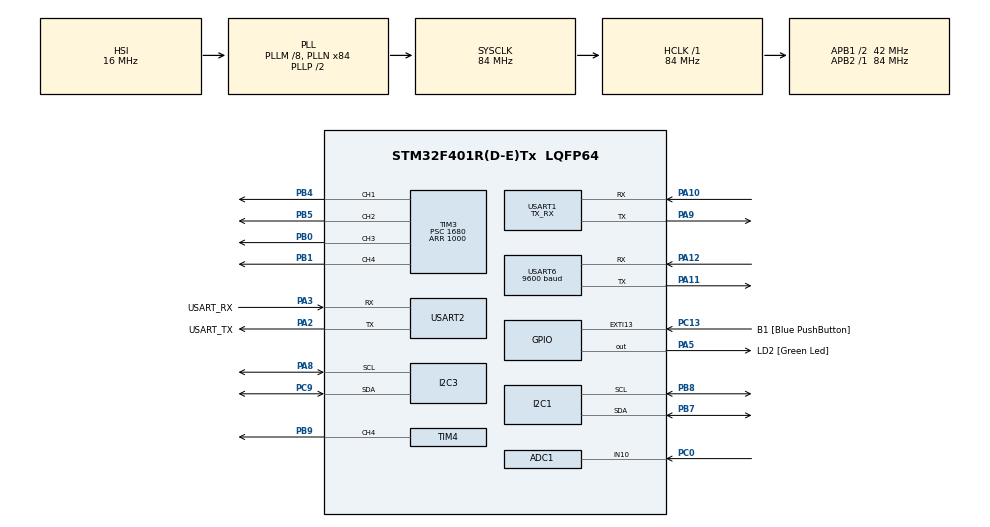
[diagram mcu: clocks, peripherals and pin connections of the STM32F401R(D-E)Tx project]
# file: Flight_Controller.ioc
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ADC1.Channel-1\#ChannelRegularConversion=ADC_CHANNEL_10
ADC1.NbrOfConversionFlag=1
ADC1.Rank-1\#ChannelRegularConversion=1
ADC1.SamplingTime-1\#ChannelRegularConversion=ADC_SAMPLETIME_3CYCLES
ADC1.master=1
Dma.ADC1.1.Direction=DMA_PERIPH_TO_MEMORY
Dma.ADC1.1.FIFOMode=DMA_FIFOMODE_DISABLE
Dma.ADC1.1.Instance=DMA2_Stream0
Dma.ADC1.1.MemDataAlignment=DMA_MDATAALIGN_HALFWORD
Dma.ADC1.1.MemInc=DMA_MINC_ENABLE
Dma.ADC1.1.Mode=DMA_NORMAL
Dma.ADC1.1.PeriphDataAlignment=DMA_PDATAALIGN_HALFWORD
Dma.ADC1.1.PeriphInc=DMA_PINC_DISABLE
Dma.ADC1.1.Priority=DMA_PRIORITY_LOW
Dma.Request0=USART1_TX
Dma.Request1=ADC1
Dma.USART1_TX.0.Direction=DMA_MEMORY_TO_PERIPH
Dma.USART1_TX.0.FIFOMode=DMA_FIFOMODE_DISABLE
Dma.USART1_TX.0.Instance=DMA2_Stream7
Dma.USART1_TX.0.MemDataAlignment=DMA_MDATAALIGN_BYTE
Dma.USART1_TX.0.MemInc=DMA_MINC_ENABLE
Dma.USART1_TX.0.Mode=DMA_NORMAL
Dma.USART1_TX.0.PeriphDataAlignment=DMA_PDATAALIGN_BYTE
Dma.USART1_TX.0.PeriphInc=DMA_PINC_DISABLE
Dma.USART1_TX.0.Priority=DMA_PRIORITY_LOW
Mcu.Family=STM32F4
Mcu.Name=STM32F401R(D-E)Tx
Mcu.Package=LQFP64
NVIC.DMA2_Stream0_IRQn=true\:0\:0\:false\:false\:true\:false\:true\:true
NVIC.DMA2_Stream7_IRQn=true\:0\:0\:false\:false\:true\:false\:true\:true
NVIC.PriorityGroup=NVIC_PRIORITYGROUP_0
NVIC.TIM1_UP_TIM10_IRQn=true\:0\:0\:false\:false\:true\:true\:true\:true
NVIC.USART1_IRQn=true\:0\:0\:false\:false\:true\:true\:true\:true
NVIC.USART6_IRQn=true\:0\:0\:false\:false\:true\:true\:true\:true
PA10.Mode=Asynchronous
PA10.Signal=USART1_RX
PA11.Mode=Asynchronous
PA11.Signal=USART6_TX
PA12.Mode=Asynchronous
PA12.Signal=USART6_RX
PA13.GPIO_Label=TMS
PA13.Mode=Serial_Wire
PA13.Signal=SYS_JTMS-SWDIO
PA14.GPIO_Label=TCK
PA14.Mode=Serial_Wire
PA14.Signal=SYS_JTCK-SWCLK
PA2.GPIO_Label=USART_TX
PA2.GPIO_Mode=GPIO_MODE_AF_PP
PA2.GPIO_PuPd=GPIO_NOPULL
PA2.GPIO_Speed=GPIO_SPEED_FREQ_LOW
PA2.Mode=Asynchronous
PA2.Signal=USART2_TX
PA3.GPIO_Label=USART_RX
PA3.GPIO_Mode=GPIO_MODE_AF_PP
PA3.GPIO_PuPd=GPIO_NOPULL
PA3.GPIO_Speed=GPIO_SPEED_FREQ_LOW
PA3.Mode=Asynchronous
PA3.Signal=USART2_RX
PA5.GPIO_Label=LD2 [Green Led]
PA5.GPIO_Mode=GPIO_MODE_OUTPUT_PP
PA5.GPIO_PuPd=GPIO_NOPULL
PA5.GPIO_Speed=GPIO_SPEED_FREQ_LOW
PA5.Signal=GPIO_Output
PA8.Mode=I2C
PA8.Signal=I2C3_SCL
PA9.Mode=Asynchronous
PA9.Signal=USART1_TX
PB0.Signal=S_TIM3_CH3
PB1.Signal=S_TIM3_CH4
PB3.GPIO_Label=SWO
PB3.Signal=SYS_JTDO-SWO
PB4.Signal=S_TIM3_CH1
PB5.Signal=S_TIM3_CH2
PB7.Mode=I2C
PB7.Signal=I2C1_SDA
PB8.Mode=I2C
PB8.Signal=I2C1_SCL
PB9.Signal=S_TIM4_CH4
PC0.Signal=ADCx_IN10
PC13-ANTI_TAMP.GPIO_Label=B1 [Blue PushButton]
PC13-ANTI_TAMP.GPIO_ModeDefaultEXTI=GPIO_MODE_IT_FALLING
PC13-ANTI_TAMP.GPIO_PuPd=GPIO_NOPULL
PC13-ANTI_TAMP.Signal=GPXTI13
PC14-OSC32_IN.Mode=LSE-External-Oscillator
PC14-OSC32_IN.Signal=RCC_OSC32_IN
PC15-OSC32_OUT.Mode=LSE-External-Oscillator
PC15-OSC32_OUT.Signal=RCC_OSC32_OUT
PC9.Mode=I2C
PC9.Signal=I2C3_SDA
PH0\ -\ OSC_IN.Mode=HSE-External-Clock-Source
PH0\ -\ OSC_IN.Signal=RCC_OSC_IN
PH1\ -\ OSC_OUT.Mode=HSE-External-Clock-Source
PH1\ -\ OSC_OUT.Signal=RCC_OSC_OUT
ProjectManager.HeapSize=0x200
ProjectManager.StackSize=0x400
ProjectManager.TargetToolchain=STM32CubeIDE
RCC.48MHZClocksFreq_Value=24000000
RCC.AHBFreq_Value=84000000
RCC.APB1CLKDivider=RCC_HCLK_DIV2
RCC.APB1Freq_Value=42000000
RCC.APB1TimFreq_Value=84000000
RCC.APB2Freq_Value=84000000
RCC.APB2TimFreq_Value=84000000
RCC.CortexFreq_Value=84000000
RCC.HCLKFreq_Value=84000000
RCC.HSE_VALUE=8000000
RCC.HSI_VALUE=16000000
RCC.PLLM=8
RCC.PLLN=84
RCC.PLLQ=7
RCC.SYSCLKFreq_VALUE=84000000
RCC.SYSCLKSource=RCC_SYSCLKSOURCE_PLLCLK
RCC.VCOOutputFreq_Value=168000000
SH.ADCx_IN10.0=ADC1_IN10,IN10
SH.S_TIM3_CH1.0=TIM3_CH1,PWM Generation1 CH1
SH.S_TIM3_CH2.0=TIM3_CH2,PWM Generation2 CH2
SH.S_TIM3_CH3.0=TIM3_CH3,PWM Generation3 CH3
SH.S_TIM3_CH4.0=TIM3_CH4,PWM Generation4 CH4
SH.S_TIM4_CH4.0=TIM4_CH4,PWM Generation4 CH4
STMicroelectronics.X-CUBE-ALGOBUILD.1.4.0.LibraryCcDSPOoLibraryJjDSPOoLibrary=true
TIM10.AutoReloadPreload=TIM_AUTORELOAD_PRELOAD_ENABLE
TIM10.Period=41999
TIM10.Prescaler=1
TIM3.AutoReloadPreload=TIM_AUTORELOAD_PRELOAD_ENABLE
TIM3.Channel-PWM\ Generation1\ CH1=TIM_CHANNEL_1
TIM3.Channel-PWM\ Generation2\ CH2=TIM_CHANNEL_2
TIM3.Channel-PWM\ Generation3\ CH3=TIM_CHANNEL_3
TIM3.Channel-PWM\ Generation4\ CH4=TIM_CHANNEL_4
TIM3.OCFastMode_PWM-PWM\ Generation1\ CH1=TIM_OCFAST_ENABLE
TIM3.OCFastMode_PWM-PWM\ Generation2\ CH2=TIM_OCFAST_ENABLE
TIM3.OCFastMode_PWM-PWM\ Generation3\ CH3=TIM_OCFAST_ENABLE
TIM3.OCFastMode_PWM-PWM\ Generation4\ CH4=TIM_OCFAST_ENABLE
TIM3.Period=1000
TIM3.Prescaler=1680
TIM3.Pulse-PWM\ Generation2\ CH2=0
TIM3.Pulse-PWM\ Generation3\ CH3=0
TIM4.AutoReloadPreload=TIM_AUTORELOAD_PRELOAD_ENABLE
TIM4.Channel-PWM\ Generation4\ CH4=TIM_CHANNEL_4
TIM4.OCFastMode_PWM-PWM\ Generation4\ CH4=TIM_OCFAST_ENABLE
TIM4.Period=20
TIM4.Prescaler=999
TIM4.Pulse-PWM\ Generation4\ CH4=10
USART1.Mode=MODE_TX_RX
USART1.VirtualMode=VM_ASYNC
USART2.VirtualMode=VM_ASYNC
USART6.BaudRate=9600
USART6.Parity=PARITY_NONE
USART6.VirtualMode=VM_ASYNC
VP_STMicroelectronics.X-CUBE-ALGOBUILD_VS_DSPOoLibraryJjLibrary_1.4.0_1.4.0.Mode=DSPOoLibraryJjLibrary
VP_TIM10_VS_ClockSourceINT.Mode=Enable_Timer
board=NUCLEO-F401RE

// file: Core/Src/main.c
/* USER CODE BEGIN Header */
/**
  ******************************************************************************
  * @file           : main.c
  * @brief          : Main program body
  ******************************************************************************
  * @attention
  *
  * Copyright (c) 2024 STMicroelectronics.
  * All rights reserved.
  *
  * This software is licensed under terms that can be found in the LICENSE file
  * in the root directory of this software component.
  * If no LICENSE file comes with this software, it is provided AS-IS.
  *
  ******************************************************************************
  */
/* USER CODE END Header */
#include "main.h"

/* USER CODE BEGIN Includes */
#include "rc_controller.h"
#include "pid.h"
#include <stdio.h>
#include "gps.h"
#include "BME280_STM32.h"
#include "mpu6050.h"

/* USER CODE END Includes */

ADC_HandleTypeDef hadc1;
DMA_HandleTypeDef hdma_adc1;

I2C_HandleTypeDef hi2c1;
I2C_HandleTypeDef hi2c3;

TIM_HandleTypeDef htim3;

UART_HandleTypeDef huart2;
UART_HandleTypeDef huart6;

/* USER CODE BEGIN PV */

GPS_t GPS;
extern uint8_t USART1_rx_flag;
extern uint8_t USART1_rx_data;
extern uint8_t _rx_buf[52];
extern uint8_t _rx_cplt_flag;
int32_t gps_lat_dec,gps_lon_dec,alt_dec,bat_dec;
char gps_lat_round,gps_lon_round,alt_dec_round,bat_dec_round;
uint8_t data_to_pc[46];

float Temperature, Pressure, Humidity,alt,OrrX_pre,OrrY_pre,OrrZ_pre;

float R1 = 30000.0;
float R2 = 7500.0;
extern uint8_t tim10_1ms_flag ;
unsigned char low_bat_flag = 0;
#define MIN 55
#define MAX 65

/* USER CODE END PV */

void SystemClock_Config(void);
static void MX_GPIO_Init(void);
static void MX_DMA_Init(void);
static void MX_USART2_UART_Init(void);
static void MX_USART1_UART_Init(void);
static void MX_USART6_UART_Init(void);
static void MX_TIM3_Init(void);
static void MX_I2C3_Init(void);
static void MX_I2C1_Init(void);
static void MX_ADC1_Init(void);
static void MX_TIM4_Init(void);
static void MX_TIM10_Init(void);
/* USER CODE BEGIN PFP */
void DMA_TransmitData(void);
int IS_throttle_Min(void);
void ESC_Calibration(void);
/* USER CODE END PFP */

/* USER CODE BEGIN 0 */
void HAL_UART_RxCpltCallback(UART_HandleTypeDef *huart)
{
	if(huart == &huart6) GPS_UART_CallBack();
}

long map (long x, long in_min, long in_max, long out_min, long out_max)
{
return (x - in_min) * (out_max - out_min + 1) / (in_max - in_min + 1) + out_min;
}

float map_float(float x, float in_min, float in_max, float out_min, float out_max) {
    return (x - in_min) * (out_max - out_min) / (in_max - in_min) + out_min;
}

// PID controller variables
float integral_alt = 0.0;
float previous_error_alt = 0.0;

// Desired altitude
//float desired_altitude = 4;  // Example: 100 meters

// PID controller function
float pidController_alt(float setpoint, float measured_value) {
    float error = setpoint - measured_value;
    integral_alt += error;
    float derivative = error - previous_error_alt;
    previous_error_alt = error;
    return (altitude_heading.kp * error) + (altitude_heading.ki * integral_alt) + (altitude_heading.kd * derivative);
}

// PID controller variables
float integral_yaw = 0.0;
float previous_error_yaw = 0.0;

// Desired altitude
//float desired_altitude = 4;  // Example: 100 meters

// PID controller function
float pidController_yaw(float setpoint, float measured_value) {
    float error = setpoint - measured_value;
    integral_yaw += error;
    float derivative = error - previous_error_yaw;
    previous_error_yaw = error;
    return (yaw_heading.kp * error) + (yaw_heading.ki * integral_yaw) + (yaw_heading.kd * derivative);
}

/* USER CODE END 0 */

int main(void)
{

  /* USER CODE BEGIN 1 */

  unsigned short ccr1, ccr2, ccr3, ccr4;
  unsigned short adcVal;
  float batVolt, adcVolt;
  float yaw_heading_reference;
  float alt_heading_reference,alt_heading_reference_init;
  /* USER CODE END 1 */

  /* MCU Configuration--------------------------------------------------------*/

  /* Reset of all peripherals, Initializes the Flash interface and the Systick. */
  HAL_Init();

  /* Configure the system clock */
  SystemClock_Config();

  /* Initialize all configured peripherals */
  MX_GPIO_Init();
  MX_DMA_Init();
  MX_USART2_UART_Init();
  MX_USART1_UART_Init();
  MX_USART6_UART_Init();
  MX_TIM3_Init();
  MX_I2C3_Init();
  MX_I2C1_Init();
  MX_ADC1_Init();
  MX_TIM4_Init();
  MX_TIM10_Init();
  /* USER CODE BEGIN 2 */
  GPS_Init();
  // Initialize the RFFT instance
  LL_USART_EnableIT_RXNE(USART1);
  LL_TIM_EnableCounter(TIM4);

  //BMP8CONFIG
  BME280_Config(OSRS_2, OSRS_16, OSRS_1, MODE_NORMAL, T_SB_20, IIR_16);
  //MPU6050
  //MPU6050SetDefault(&MPU6050_DOWN);
  //while (MPU6050_Init(&hi2c1,MPU6050_ADDR_0) == 1);

  HAL_ADC_Start_DMA(&hadc1, &adcVal, 1);

  HAL_TIM_PWM_Start(&htim3, TIM_CHANNEL_1);
  HAL_TIM_PWM_Start(&htim3, TIM_CHANNEL_2);
  HAL_TIM_PWM_Start(&htim3, TIM_CHANNEL_3);
  HAL_TIM_PWM_Start(&htim3, TIM_CHANNEL_4);

  ESC_Calibration();

  //while(IS_throttle_Min() == 0);

  // we should turn these sequence of code into a function
  LL_TIM_CC_EnableChannel(TIM4,LL_TIM_CHANNEL_CH4);

  TIM4->PSC = 2000;
  HAL_Delay(100);
  TIM4->PSC = 1500;
  HAL_Delay(100);
  TIM4->PSC = 1000;
  HAL_Delay(100);

  LL_TIM_CC_DisableChannel(TIM4,LL_TIM_CHANNEL_CH4);

	//BMP280
	BME280_Measure();
	alt_heading_reference_init = alt;

	LL_TIM_EnableCounter(TIM10);
	LL_TIM_EnableIT_UPDATE(TIM10);

  /* USER CODE END 2 */

  /* Infinite loop */
  while (1)
  {

    /* USER CODE BEGIN 3 */

	  //MPU6050
		//MPU6050_Read(&hi2c1, &MPU6050_DOWN,MPU6050_ADDR_0);

		//MPU6050_DOWN.KalmanAngleRoll = 0.1 * MPU6050_DOWN.KalmanAngleRoll + KalmanAngleRollPrev * 0.9;
		//KalmanAngleRollPrev = MPU6050_DOWN.KalmanAngleRoll;

		//MPU6050_DOWN.KalmanAnglePitch = 0.1 * MPU6050_DOWN.KalmanAnglePitch + KalmanAnglePitchPrev * 0.9;
		//KalmanAnglePitchPrev = MPU6050_DOWN.KalmanAnglePitch;

		//printf("%.4f %.4f\r\n",MPU6050_DOWN.KalmanAngleRoll,MPU6050_DOWN.KalmanAnglePitch);

		//MPU6050_DOWN.KalmanAngleRoll = filter_roll(MPU6050_DOWN.KalmanAngleRoll);
		//MPU6050_DOWN.KalmanAnglePitch = filter_pitch(MPU6050_DOWN.KalmanAnglePitch) ;

		//printf("%.4f %.4f\r\n",MPU6050_DOWN.KalmanAngleRoll,MPU6050_DOWN.KalmanAnglePitch);

		//float KalmanAngleRoll_map = map_float(MPU6050_DOWN.KalmanAngleRoll,-4.5,4.0,-90,90)   ;
		//float KalmanAnglePitch_map = map_float(MPU6050_DOWN.KalmanAnglePitch,-4.5,4.5,-90,90) ;

		//BMP280
		BME280_Measure();
		alt = alt - alt_heading_reference_init;
		alt = alt < 0 ? 0 : alt;

		adcVolt = adcVal * 0.000806f;
		batVolt = adcVolt * (R1 + R2) / R2;

		gps_lat_dec = GPS.dec_latitude * 10000;
		gps_lon_dec = GPS.dec_longitude * 10000;
		alt_dec = alt * 100;
		bat_dec = batVolt * 100;

		if(batVolt < 10.0f)
		  {
			  low_bat_flag = 1;
		  }
		  else
		  {
			  low_bat_flag = 0;
		  }

	  		if(_rx_cplt_flag == 1)
			  {
	  			printf("%s\r\n",_rx_buf);
				printf("%d\r\n",strlen(_rx_buf));
				  _rx_cplt_flag = 0;
				  if(strlen(_rx_buf) == 52 && _rx_buf[0] == '#')
				  {
					  //printf("%d\r\n",strlen(_rx_buf));

					  //printf("recep comp\r\n");

					  parseData(_rx_buf);

					  if(imu.OrrX>360.0){
						  imu.OrrX = OrrX_pre;
					  }
					  OrrX_pre = imu.OrrX;
					  if(imu.OrrY>360.0){
						  imu.OrrY = OrrY_pre;
					  }
					  OrrY_pre = imu.OrrY;
					  if(imu.OrrZ>360.0){
						  imu.OrrZ = OrrZ_pre;
					  }
					  OrrZ_pre = imu.OrrZ;

					  printf("%d\t%d\t%d\t%d\t%d\t%d\t%d\t%d\t%d\r\n",imu.OrrX,imu.OrrY,imu.OrrZ,imu.GyroX,imu.GyroY,imu.GyroZ,imu.LACCx,imu.LACCy,imu.LACCz);
					  printf("%d\t%d\t%d\t%d\t%d\t%d\r\n", rc.RH, rc.RV, rc.LV, rc.LH, rc.SwL, rc.SwR);

					  	  /*

						  if(tim10_1ms_flag == 1)
						  {
							tim10_1ms_flag == 0;
							printf("pid\r\n");

							Double_Roll_Pitch_PID_Calculation(&pitch, (rc.RV - 510) * 0.1f, imu.OrrZ, imu.GyroZ);
							Double_Roll_Pitch_PID_Calculation(&roll, (rc.RH - 500) * 0.1f, imu.OrrY,imu.GyroY);

							if(alt < 0.03) // we still need to change the values
							{
							  Reset_All_PID_Integrator();
							}

							// we start controlling the height ()
							if((rc.LV < 470 || rc.LV > 550)) // we still need to change the values
							{
							  alt_heading_reference = alt;
							  Single_Alt_Rate_PID_Calculation(&altitude_rate, (rc.LV - 512), imu.LACCx);

							  if((rc.LH < 500 || rc.LH > 530)) // we still need to change the values
							  {
								  yaw_heading_reference = imu.OrrX;
								  printf("alt acc yaw rate\r\n");
								  Single_Yaw_Rate_PID_Calculation(&yaw_rate, (rc.LH - 512), imu.GyroX);
								  ccr1 = MIN + altitude_rate.pid_result - pitch.in.pid_result - roll.in.pid_result + yaw_rate.pid_result;
								  ccr2 = MIN + altitude_rate.pid_result - pitch.in.pid_result + roll.in.pid_result + yaw_rate.pid_result;
								  ccr3 = MIN + altitude_rate.pid_result + pitch.in.pid_result + roll.in.pid_result + yaw_rate.pid_result;
								  ccr4 = MIN + altitude_rate.pid_result + pitch.in.pid_result - roll.in.pid_result + yaw_rate.pid_result;
							  }
							  else{
								  Single_Yaw_Heading_PID_Calculation(&yaw_heading, yaw_heading_reference, imu.OrrX,imu.GyroX);
								  printf("alt acc yaw heading\r\n");
								  ccr1 = MIN + altitude_rate.pid_result - pitch.in.pid_result - roll.in.pid_result + yaw_heading.pid_result;
								  ccr2 = MIN + altitude_rate.pid_result - pitch.in.pid_result + roll.in.pid_result + yaw_heading.pid_result;
								  ccr3 = MIN + altitude_rate.pid_result + pitch.in.pid_result + roll.in.pid_result + yaw_heading.pid_result;
								  ccr4 = MIN + altitude_rate.pid_result + pitch.in.pid_result - roll.in.pid_result + yaw_heading.pid_result;
							  }
							}
							else
							{
							  Single_Alt_Heading_PID_Calculation(&altitude_heading, alt_heading_reference, alt, imu.LACCx);

							  if((rc.LH < 500 || rc.LH > 530)) // we still need to change the values
							  {
								  yaw_heading_reference = imu.OrrX;
								  printf("alt heading Yaw rate\r\n");
								  Single_Yaw_Rate_PID_Calculation(&yaw_rate, (rc.LH - 512), imu.GyroX);
								  ccr1 = MIN + altitude_heading.pid_result - pitch.in.pid_result - roll.in.pid_result + yaw_rate.pid_result;
								  ccr2 = MIN + altitude_heading.pid_result - pitch.in.pid_result + roll.in.pid_result + yaw_rate.pid_result;
								  ccr3 = MIN + altitude_heading.pid_result + pitch.in.pid_result + roll.in.pid_result + yaw_rate.pid_result;
								  ccr4 = MIN + altitude_heading.pid_result + pitch.in.pid_result - roll.in.pid_result + yaw_rate.pid_result;
							  }
							  else{
								  printf("alt heading Yaw heading\r\n");
								  Single_Yaw_Heading_PID_Calculation(&yaw_heading, yaw_heading_reference, imu.OrrX,imu.GyroX);
								  ccr1 = MIN + altitude_heading.pid_result - pitch.in.pid_result - roll.in.pid_result + yaw_heading.pid_result;
								  ccr2 = MIN + altitude_heading.pid_result - pitch.in.pid_result + roll.in.pid_result + yaw_heading.pid_result;
								  ccr3 = MIN + altitude_heading.pid_result + pitch.in.pid_result + roll.in.pid_result + yaw_heading.pid_result;
								  ccr4 = MIN + altitude_heading.pid_result + pitch.in.pid_result - roll.in.pid_result + yaw_heading.pid_result;
							  }
							}
							}
							*/

				  	  }
			  }

	  			float mapped_alt= map_float(rc.LV, 10, 1023, 0,3000);
	  			printf("rc.LV: %f\r\n",rc.LV);
	  			alt_heading_reference = map_float(mapped_alt, 2, 3000, 0,4);
				printf("alt_heading_reference: %f\r\n",alt_heading_reference);
				altitude_heading.kp = 1;
				altitude_heading.ki = 0;
				altitude_heading.kd = 0;

				yaw_heading.kp = 0.3;
				yaw_heading.ki = 4;
				yaw_heading.kd = 0;

	  			float Ut_alt = pidController_alt(1,alt);
	  			//float Ut_yaw = pidController_yaw(alt_heading_reference,alt);

	  			pitch.in.kp = 1.5;
				pitch.in.ki = 1.5;
				pitch.in.kd = 0;
				pitch.out.kp = 2;
				pitch.out.ki = 2;
				pitch.out.kd = 0;

				roll.in.kp = 1.5;
				roll.in.ki = 1.5;
				roll.in.kd = 0;
				roll.out.kp = 2;
				roll.out.ki = 2;
				roll.out.kd = 0;

	  			Double_Roll_Pitch_PID_Calculation(&pitch, 0 , imu.OrrZ, imu.GyroZ);
				Double_Roll_Pitch_PID_Calculation(&roll, 0, imu.OrrY,imu.GyroY);
				Single_Yaw_Heading_PID_Calculation(&yaw_heading, 246, imu.OrrX,imu.GyroX);
				ccr1 = MIN /* + Ut_alt  -  pitch.in.pid_result  + roll.in.pid_result */ + yaw_heading.pid_result; // M1
				ccr2 = MIN /*+   Ut_alt - pitch.in.pid_result  - roll.in.pid_result */ - yaw_heading.pid_result;  // M2
				ccr3 = MIN /*+  Ut_alt + pitch.in.pid_result  - roll.in.pid_result */ + yaw_heading.pid_result;	 // M3
				ccr4 = MIN /*+ Ut_alt + pitch.in.pid_result + roll.in.pid_result */ -  yaw_heading.pid_result;  // M4

				printf("yaw_heading.pid_result: %f\r\n ",yaw_heading.pid_result);
				printf("CCR1= %d, CCR2=  %d, CCR3=  %d ,CCR4=  %d\r\n ",ccr1,ccr2,ccr3,ccr4);

	  		ccr1 = ccr1 > MAX ? MAX : ccr1 < MIN ? MIN : ccr1;
	  		ccr2 = ccr2 > MAX ? MAX : ccr2 < MIN ? MIN : ccr2;
	  		ccr3 = ccr3 > MAX ? MAX : ccr3 < MIN ? MIN : ccr3;
	  		ccr4 = ccr4 > MAX ? MAX : ccr4 < MIN ? MIN : ccr4;

		    TIM3->CCR1 = 65;
		    TIM3->CCR2 = 65;
		    TIM3->CCR3 = 65;
		    TIM3->CCR4 = 65;

	  	sprintf(data_to_pc,"0003,0000,0000,0000,%4d,%5d,%07d,%07d,",bat_dec,alt,gps_lat_dec,gps_lon_dec);
	  	//printf("long= %.4f ,lat=  %.4f\r\n ",GPS.dec_longitude,GPS.dec_latitude);
	  	printf("alt: %f, Pres: %f, Temp: %f, Hum: %f \r\n ",alt, Pressure, Temperature, Humidity);
	  	//printf("%d\t%.5f\r\n", adcVal, batVolt);
		//printf("ALT_GAINS : %f\t%f\t%f\t%f\t%f\t%f\r\n", altitude_heading.kp, altitude_heading.ki, altitude_heading.kd, altitude_rate.kp, altitude_rate.ki, altitude_rate.kd);
		//printf("YAW_GAINS : %f\t%f\t%f\t%f\t%f\t%f\r\n", yaw_heading.kp, yaw_heading.ki, yaw_heading.kd, yaw_rate.kp, yaw_rate.ki, yaw_rate.kd);
		printf("ROLL_GAINS : %f\t%f\t%f\t%f\t%f\t%f\r\n", roll.in.kp, roll.in.ki, roll.in.kd, roll.out.kp, roll.out.ki, roll.out.kd);
		printf("PITCH_GAINS : %f\t%f\t%f\t%f\t%f\t%f\r\n", pitch.in.kp, pitch.in.ki, pitch.in.kd, pitch.out.kp, pitch.out.ki, pitch.out.kd);
		printf("%d\t%d\t%d\t%d\t%d\t%d\r\n", rc.RH, rc.RV, rc.LV, rc.LH, rc.SwL, rc.SwR);
		 printf("%d\t%d\t%d\t%d\t%d\t%d\t%d\t%d\t%d\r\n",imu.OrrX,imu.OrrY,imu.OrrZ,imu.GyroX,imu.GyroY,imu.GyroZ,imu.LACCx,imu.LACCy,imu.LACCz);

	  	//printf("alt= %f\r\n ",alt);
	  	//printf("%s\r\n",data_to_pc);

	  	DMA_TransmitData();
	  	HAL_Delay(30);
  }

  /* USER CODE END 3 */
}

void SystemClock_Config(void)
{
  RCC_OscInitTypeDef RCC_OscInitStruct = {0};
  RCC_ClkInitTypeDef RCC_ClkInitStruct = {0};

  /** Configure the main internal regulator output voltage
  */
  __HAL_RCC_PWR_CLK_ENABLE();
  __HAL_PWR_VOLTAGESCALING_CONFIG(PWR_REGULATOR_VOLTAGE_SCALE2);

  /** Initializes the RCC Oscillators according to the specified parameters
  * in the RCC_OscInitTypeDef structure.
  */
  RCC_OscInitStruct.OscillatorType = RCC_OSCILLATORTYPE_HSI;
  RCC_OscInitStruct.HSIState = RCC_HSI_ON;
  RCC_OscInitStruct.HSICalibrationValue = RCC_HSICALIBRATION_DEFAULT;
  RCC_OscInitStruct.PLL.PLLState = RCC_PLL_ON;
  RCC_OscInitStruct.PLL.PLLSource = RCC_PLLSOURCE_HSI;
  RCC_OscInitStruct.PLL.PLLM = 8;
  RCC_OscInitStruct.PLL.PLLN = 84;
  RCC_OscInitStruct.PLL.PLLP = RCC_PLLP_DIV2;
  RCC_OscInitStruct.PLL.PLLQ = 7;
  if (HAL_RCC_OscConfig(&RCC_OscInitStruct) != HAL_OK)
  {
    Error_Handler();
  }

  /** Initializes the CPU, AHB and APB buses clocks
  */
  RCC_ClkInitStruct.ClockType = RCC_CLOCKTYPE_HCLK|RCC_CLOCKTYPE_SYSCLK
                              |RCC_CLOCKTYPE_PCLK1|RCC_CLOCKTYPE_PCLK2;
  RCC_ClkInitStruct.SYSCLKSource = RCC_SYSCLKSOURCE_PLLCLK;
  RCC_ClkInitStruct.AHBCLKDivider = RCC_SYSCLK_DIV1;
  RCC_ClkInitStruct.APB1CLKDivider = RCC_HCLK_DIV2;
  RCC_ClkInitStruct.APB2CLKDivider = RCC_HCLK_DIV1;

  if (HAL_RCC_ClockConfig(&RCC_ClkInitStruct, FLASH_LATENCY_2) != HAL_OK)
  {
    Error_Handler();
  }
}

static void MX_ADC1_Init(void)
{

  ADC_ChannelConfTypeDef sConfig = {0};

  /** Configure the global features of the ADC (Clock, Resolution, Data Alignment and number of conversion)
  */
  hadc1.Instance = ADC1;
  hadc1.Init.ClockPrescaler = ADC_CLOCK_SYNC_PCLK_DIV4;
  hadc1.Init.Resolution = ADC_RESOLUTION_12B;
  hadc1.Init.ScanConvMode = DISABLE;
  hadc1.Init.ContinuousConvMode = DISABLE;
  hadc1.Init.DiscontinuousConvMode = DISABLE;
  hadc1.Init.ExternalTrigConvEdge = ADC_EXTERNALTRIGCONVEDGE_NONE;
  hadc1.Init.ExternalTrigConv = ADC_SOFTWARE_START;
  hadc1.Init.DataAlign = ADC_DATAALIGN_RIGHT;
  hadc1.Init.NbrOfConversion = 1;
  hadc1.Init.DMAContinuousRequests = DISABLE;
  hadc1.Init.EOCSelection = ADC_EOC_SINGLE_CONV;
  if (HAL_ADC_Init(&hadc1) != HAL_OK)
  {
    Error_Handler();
  }

  /** Configure for the selected ADC regular channel its corresponding rank in the sequencer and its sample time.
  */
  sConfig.Channel = ADC_CHANNEL_10;
  sConfig.Rank = 1;
  sConfig.SamplingTime = ADC_SAMPLETIME_3CYCLES;
  if (HAL_ADC_ConfigChannel(&hadc1, &sConfig) != HAL_OK)
  {
    Error_Handler();
  }

}

static void MX_I2C1_Init(void)
{

  hi2c1.Instance = I2C1;
  hi2c1.Init.ClockSpeed = 100000;
  hi2c1.Init.DutyCycle = I2C_DUTYCYCLE_2;
  hi2c1.Init.OwnAddress1 = 0;
  hi2c1.Init.AddressingMode = I2C_ADDRESSINGMODE_7BIT;
  hi2c1.Init.DualAddressMode = I2C_DUALADDRESS_DISABLE;
  hi2c1.Init.OwnAddress2 = 0;
  hi2c1.Init.GeneralCallMode = I2C_GENERALCALL_DISABLE;
  hi2c1.Init.NoStretchMode = I2C_NOSTRETCH_DISABLE;
  if (HAL_I2C_Init(&hi2c1) != HAL_OK)
  {
    Error_Handler();
  }

}

static void MX_I2C3_Init(void)
{

  hi2c3.Instance = I2C3;
  hi2c3.Init.ClockSpeed = 100000;
  hi2c3.Init.DutyCycle = I2C_DUTYCYCLE_2;
  hi2c3.Init.OwnAddress1 = 0;
  hi2c3.Init.AddressingMode = I2C_ADDRESSINGMODE_7BIT;
  hi2c3.Init.DualAddressMode = I2C_DUALADDRESS_DISABLE;
  hi2c3.Init.OwnAddress2 = 0;
  hi2c3.Init.GeneralCallMode = I2C_GENERALCALL_DISABLE;
  hi2c3.Init.NoStretchMode = I2C_NOSTRETCH_DISABLE;
  if (HAL_I2C_Init(&hi2c3) != HAL_OK)
  {
    Error_Handler();
  }

}

static void MX_TIM3_Init(void)
{

  TIM_MasterConfigTypeDef sMasterConfig = {0};
  TIM_OC_InitTypeDef sConfigOC = {0};

  htim3.Instance = TIM3;
  htim3.Init.Prescaler = 1680;
  htim3.Init.CounterMode = TIM_COUNTERMODE_UP;
  htim3.Init.Period = 1000;
  htim3.Init.ClockDivision = TIM_CLOCKDIVISION_DIV1;
  htim3.Init.AutoReloadPreload = TIM_AUTORELOAD_PRELOAD_ENABLE;
  if (HAL_TIM_PWM_Init(&htim3) != HAL_OK)
  {
    Error_Handler();
  }
  sMasterConfig.MasterOutputTrigger = TIM_TRGO_RESET;
  sMasterConfig.MasterSlaveMode = TIM_MASTERSLAVEMODE_DISABLE;
  if (HAL_TIMEx_MasterConfigSynchronization(&htim3, &sMasterConfig) != HAL_OK)
  {
    Error_Handler();
  }
  sConfigOC.OCMode = TIM_OCMODE_PWM1;
  sConfigOC.Pulse = 0;
  sConfigOC.OCPolarity = TIM_OCPOLARITY_HIGH;
  sConfigOC.OCFastMode = TIM_OCFAST_ENABLE;
  if (HAL_TIM_PWM_ConfigChannel(&htim3, &sConfigOC, TIM_CHANNEL_1) != HAL_OK)
  {
    Error_Handler();
  }
  if (HAL_TIM_PWM_ConfigChannel(&htim3, &sConfigOC, TIM_CHANNEL_2) != HAL_OK)
  {
    Error_Handler();
  }
  if (HAL_TIM_PWM_ConfigChannel(&htim3, &sConfigOC, TIM_CHANNEL_3) != HAL_OK)
  {
    Error_Handler();
  }
  if (HAL_TIM_PWM_ConfigChannel(&htim3, &sConfigOC, TIM_CHANNEL_4) != HAL_OK)
  {
    Error_Handler();
  }
  HAL_TIM_MspPostInit(&htim3);

}

static void MX_TIM4_Init(void)
{

  LL_TIM_InitTypeDef TIM_InitStruct = {0};
  LL_TIM_OC_InitTypeDef TIM_OC_InitStruct = {0};

  LL_GPIO_InitTypeDef GPIO_InitStruct = {0};

  /* Peripheral clock enable */
  LL_APB1_GRP1_EnableClock(LL_APB1_GRP1_PERIPH_TIM4);

  TIM_InitStruct.Prescaler = 999;
  TIM_InitStruct.CounterMode = LL_TIM_COUNTERMODE_UP;
  TIM_InitStruct.Autoreload = 20;
  TIM_InitStruct.ClockDivision = LL_TIM_CLOCKDIVISION_DIV1;
  LL_TIM_Init(TIM4, &TIM_InitStruct);
  LL_TIM_EnableARRPreload(TIM4);
  LL_TIM_OC_EnablePreload(TIM4, LL_TIM_CHANNEL_CH4);
  TIM_OC_InitStruct.OCMode = LL_TIM_OCMODE_PWM1;
  TIM_OC_InitStruct.OCState = LL_TIM_OCSTATE_DISABLE;
  TIM_OC_InitStruct.OCNState = LL_TIM_OCSTATE_DISABLE;
  TIM_OC_InitStruct.CompareValue = 10;
  TIM_OC_InitStruct.OCPolarity = LL_TIM_OCPOLARITY_HIGH;
  LL_TIM_OC_Init(TIM4, LL_TIM_CHANNEL_CH4, &TIM_OC_InitStruct);
  LL_TIM_OC_EnableFast(TIM4, LL_TIM_CHANNEL_CH4);
  LL_TIM_SetTriggerOutput(TIM4, LL_TIM_TRGO_RESET);
  LL_TIM_DisableMasterSlaveMode(TIM4);
  LL_AHB1_GRP1_EnableClock(LL_AHB1_GRP1_PERIPH_GPIOB);
  /**TIM4 GPIO Configuration
  PB9   ------> TIM4_CH4
  */
  GPIO_InitStruct.Pin = LL_GPIO_PIN_9;
  GPIO_InitStruct.Mode = LL_GPIO_MODE_ALTERNATE;
  GPIO_InitStruct.Speed = LL_GPIO_SPEED_FREQ_LOW;
  GPIO_InitStruct.OutputType = LL_GPIO_OUTPUT_PUSHPULL;
  GPIO_InitStruct.Pull = LL_GPIO_PULL_NO;
  GPIO_InitStruct.Alternate = LL_GPIO_AF_2;
  LL_GPIO_Init(GPIOB, &GPIO_InitStruct);

}

static void MX_TIM10_Init(void)
{

  LL_TIM_InitTypeDef TIM_InitStruct = {0};

  /* Peripheral clock enable */
  LL_APB2_GRP1_EnableClock(LL_APB2_GRP1_PERIPH_TIM10);

  /* TIM10 interrupt Init */
  NVIC_SetPriority(TIM1_UP_TIM10_IRQn, NVIC_EncodePriority(NVIC_GetPriorityGrouping(),0, 0));
  NVIC_EnableIRQ(TIM1_UP_TIM10_IRQn);

  TIM_InitStruct.Prescaler = 1;
  TIM_InitStruct.CounterMode = LL_TIM_COUNTERMODE_UP;
  TIM_InitStruct.Autoreload = 41999;
  TIM_InitStruct.ClockDivision = LL_TIM_CLOCKDIVISION_DIV1;
  LL_TIM_Init(TIM10, &TIM_InitStruct);
  LL_TIM_EnableARRPreload(TIM10);

}

static void MX_USART1_UART_Init(void)
{

  LL_USART_InitTypeDef USART_InitStruct = {0};

  LL_GPIO_InitTypeDef GPIO_InitStruct = {0};

  /* Peripheral clock enable */
  LL_APB2_GRP1_EnableClock(LL_APB2_GRP1_PERIPH_USART1);

  LL_AHB1_GRP1_EnableClock(LL_AHB1_GRP1_PERIPH_GPIOA);
  /**USART1 GPIO Configuration
  PA9   ------> USART1_TX
  PA10   ------> USART1_RX
  */
  GPIO_InitStruct.Pin = LL_GPIO_PIN_9|LL_GPIO_PIN_10;
  GPIO_InitStruct.Mode = LL_GPIO_MODE_ALTERNATE;
  GPIO_InitStruct.Speed = LL_GPIO_SPEED_FREQ_VERY_HIGH;
  GPIO_InitStruct.OutputType = LL_GPIO_OUTPUT_PUSHPULL;
  GPIO_InitStruct.Pull = LL_GPIO_PULL_NO;
  GPIO_InitStruct.Alternate = LL_GPIO_AF_7;
  LL_GPIO_Init(GPIOA, &GPIO_InitStruct);

  /* USART1 DMA Init */

  /* USART1_TX Init */
  LL_DMA_SetChannelSelection(DMA2, LL_DMA_STREAM_7, LL_DMA_CHANNEL_4);

  LL_DMA_SetDataTransferDirection(DMA2, LL_DMA_STREAM_7, LL_DMA_DIRECTION_MEMORY_TO_PERIPH);

  LL_DMA_SetStreamPriorityLevel(DMA2, LL_DMA_STREAM_7, LL_DMA_PRIORITY_LOW);

  LL_DMA_SetMode(DMA2, LL_DMA_STREAM_7, LL_DMA_MODE_NORMAL);

  LL_DMA_SetPeriphIncMode(DMA2, LL_DMA_STREAM_7, LL_DMA_PERIPH_NOINCREMENT);

  LL_DMA_SetMemoryIncMode(DMA2, LL_DMA_STREAM_7, LL_DMA_MEMORY_INCREMENT);

  LL_DMA_SetPeriphSize(DMA2, LL_DMA_STREAM_7, LL_DMA_PDATAALIGN_BYTE);

  LL_DMA_SetMemorySize(DMA2, LL_DMA_STREAM_7, LL_DMA_MDATAALIGN_BYTE);

  LL_DMA_DisableFifoMode(DMA2, LL_DMA_STREAM_7);

  /* USART1 interrupt Init */
  NVIC_SetPriority(USART1_IRQn, NVIC_EncodePriority(NVIC_GetPriorityGrouping(),0, 0));
  NVIC_EnableIRQ(USART1_IRQn);

  USART_InitStruct.BaudRate = 115200;
  USART_InitStruct.DataWidth = LL_USART_DATAWIDTH_8B;
  USART_InitStruct.StopBits = LL_USART_STOPBITS_1;
  USART_InitStruct.Parity = LL_USART_PARITY_NONE;
  USART_InitStruct.TransferDirection = LL_USART_DIRECTION_TX_RX;
  USART_InitStruct.HardwareFlowControl = LL_USART_HWCONTROL_NONE;
  USART_InitStruct.OverSampling = LL_USART_OVERSAMPLING_16;
  LL_USART_Init(USART1, &USART_InitStruct);
  LL_USART_ConfigAsyncMode(USART1);
  LL_USART_Enable(USART1);
  /* USER CODE BEGIN USART1_Init 2 */
  LL_DMA_ConfigAddresses(DMA2, LL_DMA_STREAM_7, (uint32_t)&data_to_pc, LL_USART_DMA_GetRegAddr(USART1), LL_DMA_DIRECTION_MEMORY_TO_PERIPH);
  // Enable transmit completion interrupt.
  LL_DMA_EnableIT_TC(DMA2, LL_DMA_STREAM_7);
  /* USER CODE END USART1_Init 2 */

}

static void MX_USART2_UART_Init(void)
{

  huart2.Instance = USART2;
  huart2.Init.BaudRate = 115200;
  huart2.Init.WordLength = UART_WORDLENGTH_8B;
  huart2.Init.StopBits = UART_STOPBITS_1;
  huart2.Init.Parity = UART_PARITY_NONE;
  huart2.Init.Mode = UART_MODE_TX_RX;
  huart2.Init.HwFlowCtl = UART_HWCONTROL_NONE;
  huart2.Init.OverSampling = UART_OVERSAMPLING_16;
  if (HAL_UART_Init(&huart2) != HAL_OK)
  {
    Error_Handler();
  }

}

static void MX_USART6_UART_Init(void)
{

  huart6.Instance = USART6;
  huart6.Init.BaudRate = 9600;
  huart6.Init.WordLength = UART_WORDLENGTH_8B;
  huart6.Init.StopBits = UART_STOPBITS_1;
  huart6.Init.Parity = UART_PARITY_NONE;
  huart6.Init.Mode = UART_MODE_TX_RX;
  huart6.Init.HwFlowCtl = UART_HWCONTROL_NONE;
  huart6.Init.OverSampling = UART_OVERSAMPLING_16;
  if (HAL_UART_Init(&huart6) != HAL_OK)
  {
    Error_Handler();
  }

}

static void MX_DMA_Init(void)
{

  /* DMA controller clock enable */
  __HAL_RCC_DMA2_CLK_ENABLE();

  /* DMA interrupt init */
  /* DMA2_Stream0_IRQn interrupt configuration */
  HAL_NVIC_SetPriority(DMA2_Stream0_IRQn, 0, 0);
  HAL_NVIC_EnableIRQ(DMA2_Stream0_IRQn);
  /* DMA2_Stream7_IRQn interrupt configuration */
  NVIC_SetPriority(DMA2_Stream7_IRQn, NVIC_EncodePriority(NVIC_GetPriorityGrouping(),0, 0));
  NVIC_EnableIRQ(DMA2_Stream7_IRQn);

}

static void MX_GPIO_Init(void)
{
  GPIO_InitTypeDef GPIO_InitStruct = {0};

  /* GPIO Ports Clock Enable */
  __HAL_RCC_GPIOC_CLK_ENABLE();
  __HAL_RCC_GPIOH_CLK_ENABLE();
  __HAL_RCC_GPIOA_CLK_ENABLE();
  __HAL_RCC_GPIOB_CLK_ENABLE();

  /*Configure GPIO pin Output Level */
  HAL_GPIO_WritePin(LD2_GPIO_Port, LD2_Pin, GPIO_PIN_RESET);

  /*Configure GPIO pin : B1_Pin */
  GPIO_InitStruct.Pin = B1_Pin;
  GPIO_InitStruct.Mode = GPIO_MODE_IT_FALLING;
  GPIO_InitStruct.Pull = GPIO_NOPULL;
  HAL_GPIO_Init(B1_GPIO_Port, &GPIO_InitStruct);

  /*Configure GPIO pin : LD2_Pin */
  GPIO_InitStruct.Pin = LD2_Pin;
  GPIO_InitStruct.Mode = GPIO_MODE_OUTPUT_PP;
  GPIO_InitStruct.Pull = GPIO_NOPULL;
  GPIO_InitStruct.Speed = GPIO_SPEED_FREQ_LOW;
  HAL_GPIO_Init(LD2_GPIO_Port, &GPIO_InitStruct);

}

/* USER CODE BEGIN 4 */
int _write(int file, char *ptr, int len)
{
	//int DataIdx;

	HAL_UART_Transmit(&huart2,(uint8_t*)ptr,len,HAL_MAX_DELAY);
	/*
	for (DataIdx = 0; DataIdx < len; DataIdx++)
	{
		ITM_SendChar(*ptr++);
	}
	*/
	return len;
}

void DMA_TransmitData()
{

  LL_DMA_DisableStream(DMA2, LL_DMA_STREAM_7);

  LL_DMA_SetDataLength(DMA2, LL_DMA_STREAM_7, sizeof(data_to_pc));

  LL_DMA_EnableStream(DMA2, LL_DMA_STREAM_7);

  LL_USART_EnableDMAReq_TX(USART1);
}

void ESC_Calibration(void)
{
	  TIM3->CCR1 = 100;
	  TIM3->CCR2 = 100;
	  TIM3->CCR3 = 100;
	  TIM3->CCR4 = 100;
	  HAL_Delay(3000);
	  TIM3->CCR1 = 50;
	  TIM3->CCR2 = 50;
	  TIM3->CCR3 = 50;
	  TIM3->CCR4 = 50;
	  HAL_Delay (2000);
}

/*int Is_data_Received(void)
{
	if(_rx_cplt_flag == 1)
	  {
	  _rx_cplt_flag = 0;
	  parseData(_rx_buf);
	   return 1 ;
	  }
    return 0 ;
}*/

/* USER CODE END 4 */

void Error_Handler(void)
{
  __disable_irq();
  while (1)
  {
  }
}
